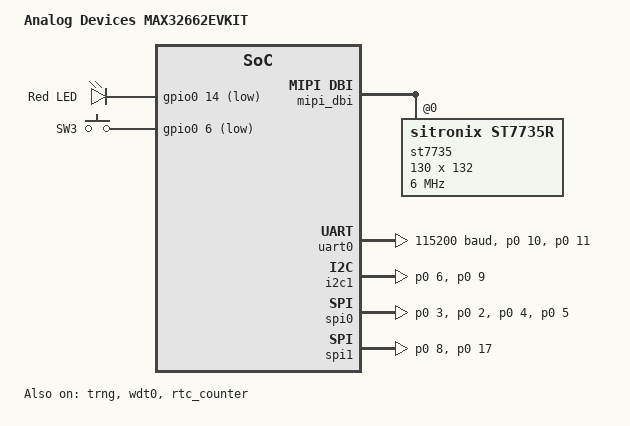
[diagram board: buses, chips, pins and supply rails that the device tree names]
/*
 * Copyright (c) 2024 Analog Devices, Inc.
 *
 * SPDX-License-Identifier: Apache-2.0
 */

/dts-v1/;

#include <adi/max32/max32662.dtsi>
#include <adi/max32/max32662-pinctrl.dtsi>
#include <zephyr/dt-bindings/gpio/adi-max32-gpio.h>
#include <zephyr/dt-bindings/input/input-event-codes.h>
#include <zephyr/dt-bindings/dma/max32662_dma.h>
#include <zephyr/dt-bindings/mipi_dbi/mipi_dbi.h>

/ {
	model = "Analog Devices MAX32662EVKIT";
	compatible = "adi,max32662evkit";

	chosen {
		zephyr,console = &uart0;
		zephyr,shell-uart = &uart0;
		zephyr,sram = &sram2;
		zephyr,flash = &flash0;
		zephyr,display = &st7735;
	};

	leds {
		compatible = "gpio-leds";
		led1: led_1 {
			gpios = <&gpio0 14 GPIO_ACTIVE_LOW>;
			label = "Red LED";
		};
	};

	buttons {
		compatible = "gpio-keys";
		pb1: pb1 {
			gpios = <&gpio0 6 (GPIO_PULL_UP | GPIO_ACTIVE_LOW
						| MAX32_GPIO_VSEL_VDDIOH)>;
			label = "SW3";
			zephyr,code = <INPUT_KEY_0>;
		};
	};

	/* These aliases are provided for compatibility with samples */
	aliases {
		led0 = &led1;
		sw0 = &pb1;
		watchdog0 = &wdt0;
	};

	mipi_dbi {
		compatible = "zephyr,mipi-dbi-spi";
		spi-dev = <&spi1>;
		#address-cells = <1>;
		#size-cells = <0>;

		status = "okay";

		st7735: st7735@0 {
			compatible = "sitronix,st7735r";
			mipi-max-frequency = <DT_FREQ_M(6)>;
			mipi-mode = "MIPI_DBI_MODE_SPI_3WIRE";

			reg = <0>;
			width = <130>;
			height = <132>;
			x-offset = <0>;
			y-offset = <0>;
			madctl = <0xc0>;
			colmod = <0x05>;
			vmctr1 = <0x51>;
			pwctr1 = [02 02];
			pwctr2 = [c5];
			pwctr3 = [0d 00];
			pwctr4 = [8d 1a];
			pwctr5 = [8d ee];
			frmctr1 = [02 35 36];
			frmctr2 = [02 35 36];
			frmctr3 = [02 35 36 02 35 36];
			gamctrp1 = [0a 1c 0c 14 33 2b 24 28 27 25 2c 39 00 05 03 0d];
			gamctrn1 = [0a 1c 0c 14 33 2b 24 28 27 25 2d 3a 00 05 03 0d];
		};
	};
};

&uart0 {
	pinctrl-0 = <&uart0a_tx_p0_10 &uart0a_rx_p0_11>;
	pinctrl-names = "default";
	current-speed = <115200>;
	data-bits = <8>;
	parity = "none";
	status = "okay";
};

&clk_ipo {
	status = "okay";
};

&dma0 {
	status = "okay";
};

/*
 * ERTCO is required for counter RTC
 */
&clk_ertco {
	status = "okay";
};

&gpio0 {
	status = "okay";
};

&i2c1 {
	status = "okay";
	pinctrl-0 = <&i2c1a_scl_p0_6 &i2c1a_sda_p0_9>;
	pinctrl-names = "default";
};

&trng {
	status = "okay";
};

&wdt0 {
	status = "okay";
};

&rtc_counter {
	status = "okay";
};

&spi0 {
	status = "okay";
	pinctrl-0 = <&spi0a_copi_p0_3 &spi0a_cito_p0_2 &spi0a_sck_p0_4 &spi0a_ts0_p0_5>;
	pinctrl-names = "default";
};

&spi1a_mosi_p0_8 {
	power-source=<MAX32_VSEL_VDDIOH>;
};

&spi1a_sck_p0_17 {
	power-source=<MAX32_VSEL_VDDIOH>;
};

&spi1 {
	status = "okay";
	pinctrl-0 = <&spi1a_mosi_p0_8 &spi1a_sck_p0_17>;
	pinctrl-names = "default";
	cs-gpios = <&gpio0 18 GPIO_ACTIVE_LOW>;
};
